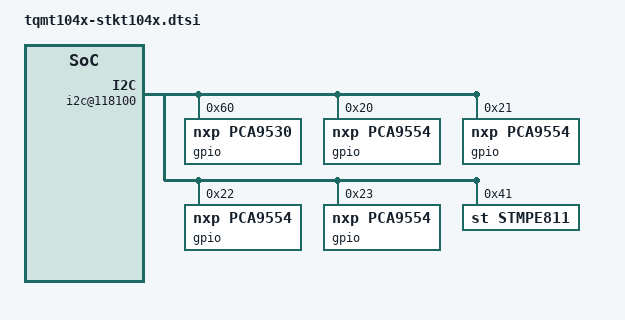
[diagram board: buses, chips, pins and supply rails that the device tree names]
/*
 * TQMT104x STKT14x Device Tree Source
 *
 * Copyright 2014 Freescale Semiconductor Inc.
 * Copyright 2016 Stefan Lange <s.lange@gateware.de>
 * Copyright 2019 Max Merchel <Max.Merchel@tq-group.com>
 * 
 * Redistribution and use in source and binary forms, with or without
 * modification, are permitted provided that the following conditions are met:
 *     * Redistributions of source code must retain the above copyright
 *	 notice, this list of conditions and the following disclaimer.
 *     * Redistributions in binary form must reproduce the above copyright
 *	 notice, this list of conditions and the following disclaimer in the
 *	 documentation and/or other materials provided with the distribution.
 *     * Neither the name of Freescale Semiconductor nor the
 *	 names of its contributors may be used to endorse or promote products
 *	 derived from this software without specific prior written permission.
 *
 *
 * ALTERNATIVELY, this software may be distributed under the terms of the
 * GNU General Public License ("GPL") as published by the Free Software
 * Foundation, either version 2 of that License or (at your option) any
 * later version.
 *
 * THIS SOFTWARE IS PROVIDED BY Freescale Semiconductor "AS IS" AND ANY
 * EXPRESS OR IMPLIED WARRANTIES, INCLUDING, BUT NOT LIMITED TO, THE IMPLIED
 * WARRANTIES OF MERCHANTABILITY AND FITNESS FOR A PARTICULAR PURPOSE ARE
 * DISCLAIMED. IN NO EVENT SHALL Freescale Semiconductor BE LIABLE FOR ANY
 * DIRECT, INDIRECT, INCIDENTAL, SPECIAL, EXEMPLARY, OR CONSEQUENTIAL DAMAGES
 * (INCLUDING, BUT NOT LIMITED TO, PROCUREMENT OF SUBSTITUTE GOODS OR SERVICES;
 * LOSS OF USE, DATA, OR PROFITS; OR BUSINESS INTERRUPTION) HOWEVER CAUSED AND
 * ON ANY THEORY OF LIABILITY, WHETHER IN CONTRACT, STRICT LIABILITY, OR TORT
 * (INCLUDING NEGLIGENCE OR OTHERWISE) ARISING IN ANY WAY OUT OF THE USE OF THIS
 * SOFTWARE, EVEN IF ADVISED OF THE POSSIBILITY OF SUCH DAMAGE.
 */

/* all of the following components are on the STK */
/ {
	soc: soc@ffe000000 {
		/* I2C2 */
		i2c@118100 {
			/* PCA9530 PWM */
			gpio@60 {
				compatible = "nxp,pca9530";
				reg = <0x60>;
			};
			/* PCA9554 GPIO: DIP Switches */
			gpio@20 {
				compatible = "nxp,pca9554";
				reg = <0x20>;
			};
			/* PCA9554 GPIO: PCIe & LCD control */
			gpio@21 {
				compatible = "nxp,pca9554";
				reg = <0x21>;
			};
			/* PCA9554 GPIO: SerDes & DIU Mux, LEDs*/
			gpio@22 {
				compatible = "nxp,pca9554";
				reg = <0x22>;
			};
			/* PCA9554 GPIO: XFI control, SGMII INT# */
			gpio@23 {
				compatible = "nxp,pca9554";
				reg = <0x23>;
			};
			/* STMPE touchscreen controller */
			stmpe811: stmpe811@41 {
				compatible = "st,stmpe811";
				reg = <0x41>;
				wakeup-source;
				st,autosleep-timeout = <1024>;
				stmpe_touchscreen {
					compatible = "st,stmpe-ts";
					st,sample-time = <4>;
					st,mod-12b = <1>;
					st,ref-sel = <0>;
					st,adc-freq = <1>;
					st,ave-ctrl = <1>;
					st,touch-det-delay = <2>;
					st,settling = <2>;
					st,fraction-z = <7>;
					st,i-drive = <1>;
				};
			};
		};
	};

	pci0: pcie@ffe240000 {
		status = "disabled";
	};

	pci1: pcie@ffe250000 {
		reg = <0xf 0xfe250000 0 0x10000>;
		ranges = <0x02000000 0x0 0xe0000000 0xc 0x10000000 0x0 0x10000000
			  0x01000000 0x0 0x00000000 0xf 0xf8010000 0x0 0x00010000>;
		pcie@0 {
			ranges = <0x02000000 0 0xe0000000
				  0x02000000 0 0xe0000000
				  0 0x10000000

				  0x01000000 0 0x00000000
				  0x01000000 0 0x00000000
				  0 0x00010000>;
		};
	};

	pci2: pcie@ffe260000 {
		reg = <0xf 0xfe260000 0 0x10000>;
		ranges = <0x02000000 0 0xe0000000 0xc 0x20000000 0 0x10000000
			  0x01000000 0 0x00000000 0xf 0xf8020000 0 0x00010000>;
		pcie@0 {
			ranges = <0x02000000 0 0xe0000000
				  0x02000000 0 0xe0000000
				  0 0x10000000

				  0x01000000 0 0x00000000
				  0x01000000 0 0x00000000
				  0 0x00010000>;
		};
	};

	pci3: pcie@ffe270000 {
		reg = <0xf 0xfe270000 0 0x10000>;
		ranges = <0x02000000 0 0xe0000000 0xc 0x30000000 0 0x10000000
			  0x01000000 0 0x00000000 0xf 0xf8030000 0 0x00010000>;
		pcie@0 {
			ranges = <0x02000000 0 0xe0000000
				  0x02000000 0 0xe0000000
				  0 0x10000000

				  0x01000000 0 0x00000000
				  0x01000000 0 0x00000000
				  0 0x00010000>;
		};
	};
};
